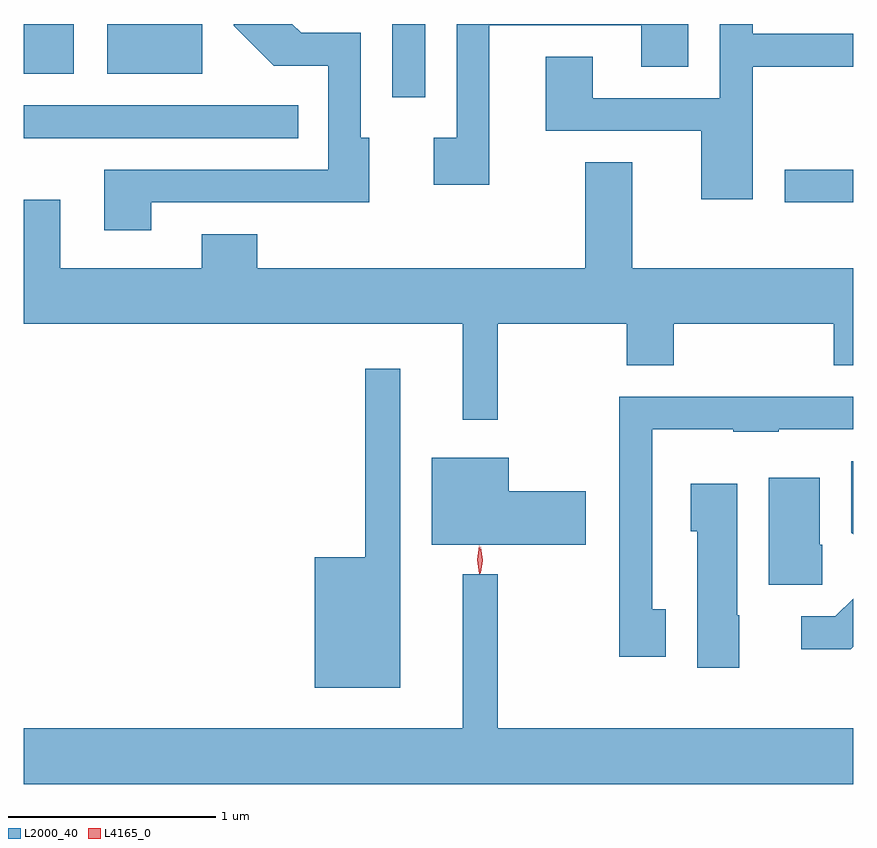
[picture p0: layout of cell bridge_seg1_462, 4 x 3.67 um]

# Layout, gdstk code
import gdstk
lib = gdstk.Library(unit=1e-6, precision=1e-09)
def R(c, l, rs):  # rectangles x0, y0, x1, y1
    for r in rs: c.add(gdstk.rectangle(r[:2], r[2:], *l))
def P(c, l, *ps):  # polygons
    for p in ps: c.add(gdstk.Polygon(p, *l))
L2000_40 = (2000, 40)
L4165_0 = (4165, 0)

bridge_seg1_462 = lib.new_cell('bridge_seg1_462')
R(bridge_seg1_462, L2000_40, [(389.983,851.321,390.314,851.479), (386.314,851.631,387.638,851.789), (388.091,851.828,388.249,852.182), (386.314,851.941,386.554,852.182), (386.716,851.941,387.174,852.182)])
P(bridge_seg1_462, L2000_40, [(389.829,851.976),(390.314,851.976),(390.314,852.134),(389.829,852.134),(389.829,852.182),(389.671,852.182),(389.671,851.824),(389.059,851.824),(389.059,852.024),(388.831,852.024),(388.831,851.666),(389.581,851.666),(389.581,851.336),(389.829,851.336)],
  [(386.929,851.321),(387.979,851.321),(387.979,851.634),(387.939,851.634),(387.939,852.139),(387.652,852.139),(387.609,852.182),(387.326,852.182),(387.326,852.174),(387.519,851.981),(387.781,851.981),(387.781,851.479),(386.701,851.479),(386.701,851.186),(386.929,851.186)],
  [(388.559,852.176),(389.291,852.176),(389.291,851.976),(389.519,851.976),(389.519,852.182),(388.401,852.182),(388.401,851.634),(388.291,851.634),(388.291,851.406),(388.559,851.406)],
  [(388.599,850.736),(389.221,850.736),(389.221,850.536),(389.449,850.536),(389.449,850.736),(390.221,850.736),(390.221,850.536),(390.314,850.536),(390.314,851.004),(389.249,851.004),(389.249,851.514),(389.021,851.514),(389.021,851.004),(387.439,851.004),(387.439,851.169),(387.171,851.169),(387.171,851.004),(386.489,851.004),(386.489,851.334),(386.314,851.334),(386.314,850.736),(388.431,850.736),(388.431,850.273),(388.599,850.273)],
  [(388.129,850.518),(387.961,850.518),(387.961,849.609),(387.716,849.609),(387.716,848.981),(388.129,848.981)],
  [(389.409,849.359),(389.344,849.359),(389.344,850.226),(389.735,850.226),(389.735,850.216),(389.955,850.216),(389.955,850.226),(390.314,850.226),(390.314,850.384),(389.186,850.384),(389.186,849.131),(389.409,849.131)],
  [(389.024,849.929),(388.654,849.929),(388.654,850.089),(388.281,850.089),(388.281,849.671),(389.024,849.671)],
  [(390.314,850.074),(390.306,850.074),(390.306,849.729),(390.314,849.721)],
  [(390.164,849.67),(390.154,849.67),(390.154,849.994),(389.906,849.994),(389.906,849.476),(390.164,849.476)],
  [(389.764,849.33),(389.754,849.33),(389.754,849.964),(389.531,849.964),(389.531,849.736),(389.561,849.736),(389.561,849.076),(389.764,849.076)],
  [(390.314,848.784),(388.599,848.784),(388.599,849.528),(388.431,849.528),(388.431,848.784),(386.314,848.784),(386.314,848.516),(390.314,848.516)],
  [(390.314,849.178),(390.314,849.409),(390.229,849.324),(390.063,849.324),(390.063,849.166),(390.302,849.166)])
P(bridge_seg1_462, L4165_0, [(388.516,849.533),(388.516,849.534),(388.507,849.597),(388.518,849.659),(388.518,849.66),(388.519,849.659),(388.527,849.596),(388.517,849.534)],
  [(388.511,849.53),(388.511,849.53),(388.501,849.598),(388.51,849.666),(388.511,849.666),(388.511,849.666),(388.521,849.598),(388.512,849.53)])

lib.write_gds('bridge_seg1_462.gds')
